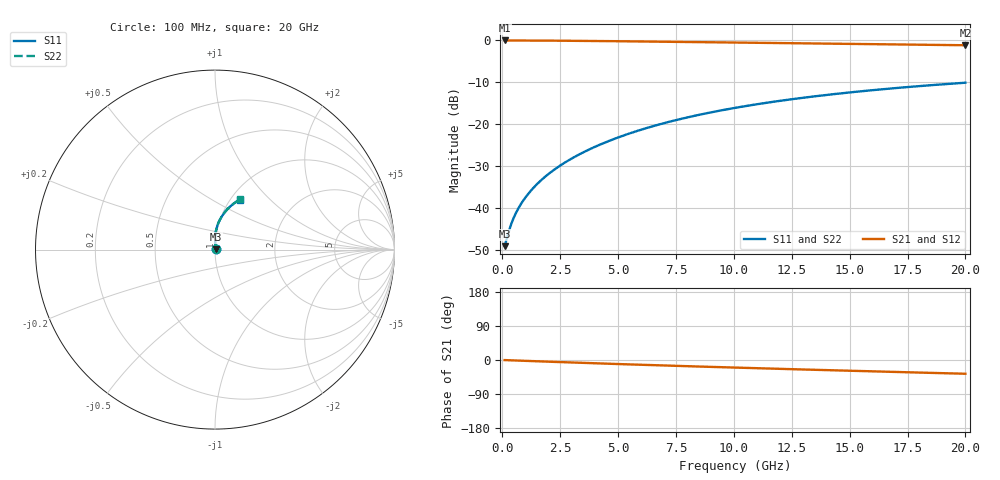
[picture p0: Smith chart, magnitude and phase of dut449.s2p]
! Touchstone file exported from HFSS 2024.1.0
!  File:  C:/UserFiles/LocalFiles/RDL_TSV_Batchsim/temp_RDL_top_449_1779677075.aedt
!  Generated:  10:46:44 AM May 25, 2026
!  Design:  RDL_top
!  Project:  temp_RDL_top_449_1779677075
!  Setup:  Setup1
!  Solution:  Sweep
! Variables:
!  dtsv = 10.80580581um
!  hbump = 3um
!  htsv = 62.8um
!  ldown = 100um
!  lrdl = 509.79um
!  p = 40
!  p1 = 52.81um
!  rhole = 1um
!  t = 450um
!  tdown = 3.915915916um
!  trdl = 2.32um
!  wdown = 15.38538539um
!  wrdl = 27.85um
# GHz S MA R 50.000000
! Terminal data exported
! Port[1] = Box2_T1
! Port[2] = Box2_T2
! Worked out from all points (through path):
!   200 points, 100 MHz to 20 GHz, reference 50 ohm
!   highest |S21| = -0.03 dB at 100 MHz (marker M1); lowest = -1.2 dB at 20 GHz (marker M2)
!   group delay of S21, straight-line fit = 4.97 ps
!   lowest |S11| = -49.2 dB at 100 MHz (marker M3), VSWR 1.01, Z = 50.3 + j0.147 ohm
!   |S11| at or under -10 dB: start of sweep to end of sweep
!   |S22| runs from -49.2 to -10.1 dB; largest |S21 - S12| = 2.1e-15
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0.1  0.003471 24.8  0.9968 -0.2  0.9968 -0.2  0.003471 24.8
! Gamma 0 0 0 0
! Port Impedance 50 0 50 0
0.3  0.005414 50.9  0.9965 -0.7  0.9965 -0.7  0.005414 50.9
0.4  0.006532 57.1  0.9962 -0.9  0.9962 -0.9  0.006532 57.1
0.5  0.007652 61.4  0.996 -1.2  0.996 -1.2  0.007652 61.4
0.6  0.008767 64.7  0.9958 -1.4  0.9958 -1.4  0.008767 64.7
0.8  0.011 69.6  0.9953 -1.8  0.9953 -1.8  0.011 69.6
1  0.01327 73.2  0.9948 -2.3  0.9948 -2.3  0.01326 73.2
1.2  0.01558 76.0  0.9944 -2.7  0.9944 -2.7  0.01558 76.1
1.7  0.02159 80.9  0.9929 -3.8  0.9929 -3.8  0.02159 80.9
2.2  0.02793 84.0  0.9911 -4.9  0.9911 -4.9  0.02794 84.0
2.8  0.03597 86.3  0.9885 -6.2  0.9885 -6.2  0.03598 86.4
3.5  0.04591 87.9  0.985 -7.6  0.985 -7.6  0.04593 88.0
4.2  0.05644 88.7  0.981 -9.1  0.981 -9.1  0.05646 88.7
5  0.06908 88.8  0.976 -10.7  0.976 -10.7  0.06912 88.9
5.9  0.08393 88.3  0.97 -12.4  0.97 -12.4  0.08399 88.4
6.8  0.09926 87.4  0.9639 -14.1  0.9639 -14.1  0.09934 87.5
8.4  0.1271 85.0  0.9528 -17.1  0.9528 -17.1  0.1272 85.1
10.1  0.1568 81.9  0.941 -20.1  0.941 -20.1  0.157 82.0
11.7  0.1844 78.9  0.93 -22.9  0.93 -22.9  0.1846 78.9
13.4  0.2128 75.6  0.9183 -25.7  0.9183 -25.7  0.213 75.6
16.7  0.2647 69.3  0.896 -31.1  0.896 -31.1  0.265 69.4
20  0.3117 63.4  0.8738 -36.3  0.8738 -36.3  0.3121 63.5
